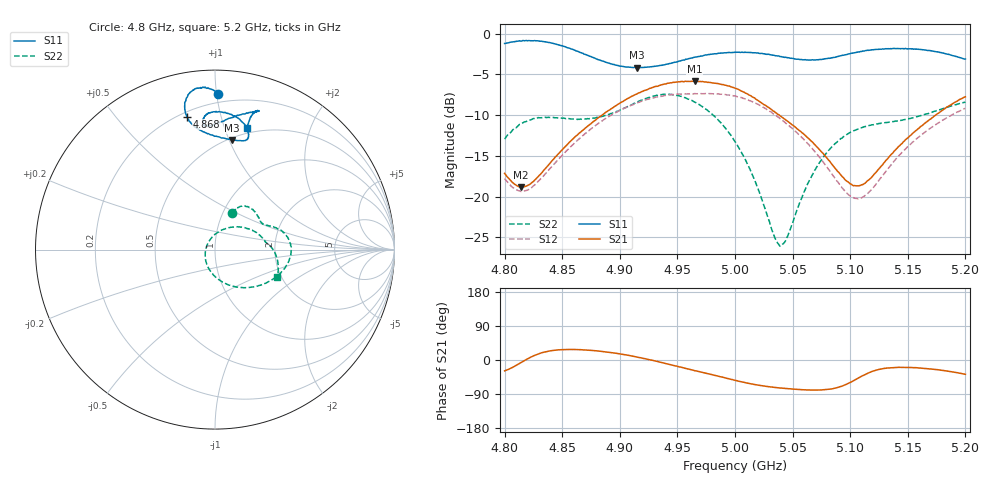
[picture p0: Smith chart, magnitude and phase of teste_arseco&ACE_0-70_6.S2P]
! Network Analyzer HP8722D
! Hewlett-Packard
! Data name: Linha & Wilkinson
! Saver's name: Rodrigo Anjos
! Comments: Teste da utilização de aquisição
! continua pelo VNA HP8722D
! Time and date: 8/5/2025 12:48
!  Frequency  S11  S21  S12  S22
# HZ  S  MA R 50
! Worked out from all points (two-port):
!   401 points, 4.8 GHz to 5.2 GHz, reference 50 ohm
!   highest |S21| = -5.83 dB at 4.965 GHz (marker M1); lowest = -18.8 dB at 4.814 GHz (marker M2)
!   |S21| within 3 dB of the highest: 4.897 GHz to 5.027 GHz (129.9 MHz wide, 2.62 % of centre); 5.186248 GHz to end of sweep
!   lowest |S11| = -4.2 dB at 4.915 GHz (marker M3), VSWR 4.24, Z = 25.9 + j51.3 ohm
!   |S11| at or under -10 dB: nowhere
!   |S22| runs from -26.1 to -7.4 dB; largest |S21 - S12| = 0.88
!   S11 on the Smith chart (normalised r, x): 4.8 GHz: 0.14, +1.01; 4.868 GHz: 0.23, +0.79; 5.2 GHz: 0.45, +1.20
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4.8e9  0.8695 88.8  0.139 -28.7  0.1292 99.6  0.2255 65.3
4.814e9  0.8993 92.8  0.1148 -7.0  0.1076 118.4  0.278 59.8
4.824e9  0.9053 95.7  0.1225 9.3  0.1145 133.8  0.2989 53.3
4.843e9  0.8675 100.2  0.1713 25.6  0.1585 150.1  0.3053 41.6
4.867e9  0.7607 102.0  0.2524 26.9  0.2336 154.7  0.2982 31.0
4.868e9  0.757 101.9  0.256 26.8  0.2372 154.7  0.2985 30.7
4.915e9  0.6181 81.1  0.4269 7.8  0.3755 141.6  0.3795 16.8
4.934e9  0.6354 74.1  0.48 -5.0  0.4111 131.2  0.4207 4.9
4.965e9  0.7169 76.6  0.5113 -28.2  0.4287 111.7  0.38 -22.0
4.984e9  0.7524 82.3  0.4947 -41.5  0.4262 99.4  0.3023 -43.0
5e9  0.7673 87.5  0.4632 -53.5  0.4145 88.1  0.2174 -66.6
5.02e9  0.7612 92.9  0.389 -66.4  0.3688 74.2  0.1115 -107.8
5.033e9  0.7369 94.9  0.3355 -71.9  0.323 67.1  0.05984 -156.0
5.039e9  0.7231 95.3  0.3138 -73.9  0.3019 64.9  0.04969 167.1
5.045e9  0.7129 95.5  0.2924 -75.7  0.279 62.4  0.05598 128.9
5.067e9  0.691 93.2  0.217 -79.2  0.1975 58.5  0.1352 61.5
5.085e9  0.713 87.3  0.1552 -75.8  0.135 64.0  0.2059 36.4
5.105e9  0.766 79.0  0.1164 -51.1  0.09764 92.2  0.2566 19.6
5.116e9  0.7893 75.5  0.1264 -34.0  0.1059 111.6  0.2727 13.6
5.134e9  0.8065 72.6  0.1761 -20.6  0.1519 126.4  0.2868 8.1
5.171e9  0.7833 74.4  0.3042 -24.0  0.2669 121.8  0.3296 -1.6
5.2e9  0.6983 75.1  0.4097 -37.7  0.3484 110.6  0.3801 -23.7
